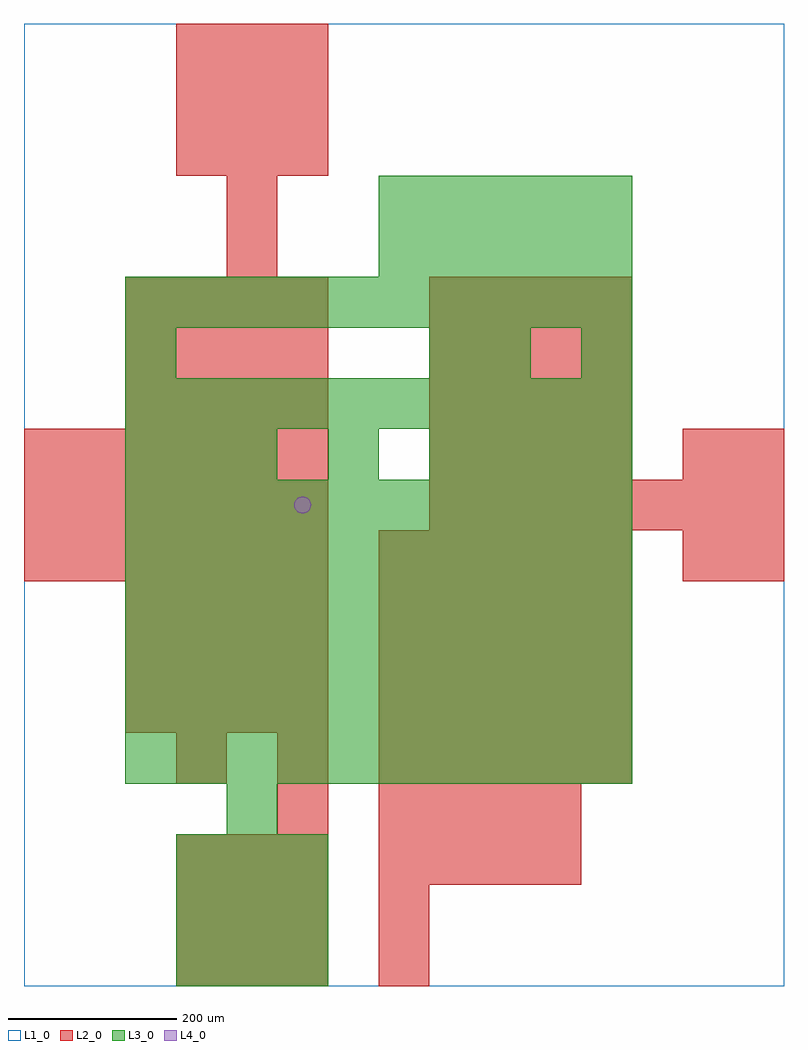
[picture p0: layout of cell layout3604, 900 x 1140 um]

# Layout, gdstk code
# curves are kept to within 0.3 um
import gdstk
lib = gdstk.Library(unit=1e-6, precision=1e-09)
def R(c, l, rs):  # rectangles x0, y0, x1, y1
    for r in rs: c.add(gdstk.rectangle(r[:2], r[2:], *l))
def A(c, l, x, y, w, h, nx, ny, dx, dy):  # array of equal rectangles
    R(c, l, [(x+i*dx, y+j*dy, x+i*dx+w, y+j*dy+h) for i in range(nx) for j in range(ny)])
def P(c, l, *ps):  # polygons
    for p in ps: c.add(gdstk.Polygon(p, *l))
L1_0 = (1, 0)
L2_0 = (2, 0)
L3_0 = (3, 0)
L4_0 = (4, 0)

layout3604 = lib.new_cell('layout3604')
R(layout3604, L1_0, [(0,0,900,1140)])
A(layout3604, L2_0, 180, 0, 60, 60, 3, 3, 60, 60)
A(layout3604, L2_0, 420, 120, 60, 60, 4, 2, 60, 60)
A(layout3604, L2_0, 180, 240, 60, 60, 3, 1, 120, 0)
A(layout3604, L2_0, 480, 240, 60, 60, 4, 2, 60, 360)
A(layout3604, L2_0, 120, 300, 60, 60, 4, 3, 60, 60)
A(layout3604, L2_0, 420, 300, 60, 60, 5, 4, 60, 60)
A(layout3604, L2_0, 0, 480, 60, 60, 6, 3, 60, 60)
A(layout3604, L2_0, 480, 540, 60, 60, 7, 1, 60, 0)
A(layout3604, L2_0, 120, 660, 60, 60, 4, 3, 60, 60)
A(layout3604, L2_0, 480, 660, 60, 60, 4, 3, 60, 60)
A(layout3604, L2_0, 180, 960, 60, 60, 3, 3, 60, 60)
R(layout3604, L2_0, [(420,0,480,60), (420,60,480,120), (300,180,360,240), (780,480,840,540), (840,480,900,540), (780,600,840,660), (840,600,900,660), (240,840,300,900), (240,900,300,960)])
A(layout3604, L3_0, 180, 0, 60, 60, 3, 3, 60, 60)
A(layout3604, L3_0, 120, 240, 60, 60, 10, 6, 60, 60)
A(layout3604, L3_0, 120, 600, 60, 60, 3, 1, 60, 0)
A(layout3604, L3_0, 480, 600, 60, 60, 4, 1, 60, 0)
A(layout3604, L3_0, 120, 660, 60, 60, 10, 2, 60, 120)
A(layout3604, L3_0, 420, 840, 60, 60, 5, 2, 60, 60)
R(layout3604, L3_0, [(240,180,300,240), (360,600,420,660), (120,720,180,780), (480,720,540,780), (540,720,600,780), (660,720,720,780)])
P(layout3604, L4_0, [(340,570),(339.239,573.827),(337.071,577.071),(333.827,579.239),(330,580),(326.173,579.239),(322.929,577.071),(320.761,573.827),(320,570),(320.761,566.173),(322.929,562.929),(326.173,560.761),(330,560),(333.827,560.761),(337.071,562.929),(339.239,566.173)])

lib.write_gds('layout3604.gds')
